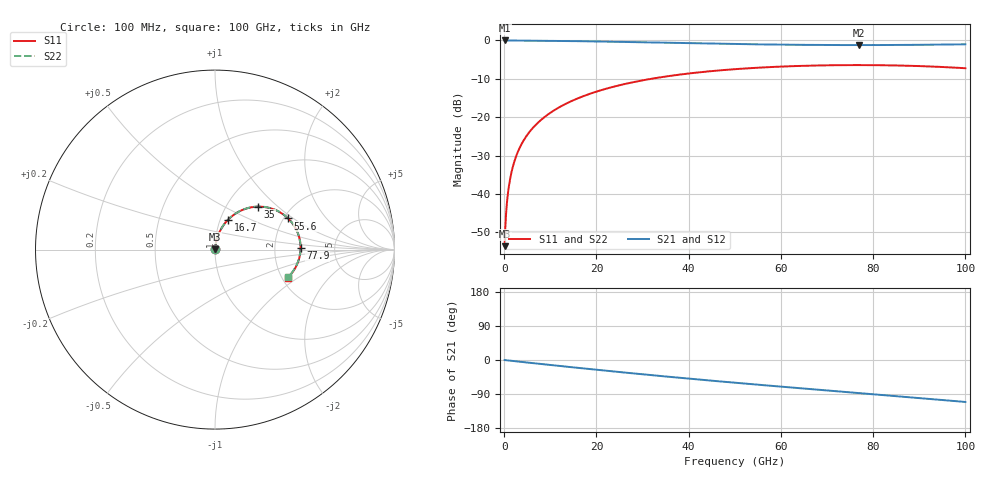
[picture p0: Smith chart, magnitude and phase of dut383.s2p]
! Touchstone file exported from HFSS 2026.1.0
!  File:  C:/ffzhzh/LocalFiles/Ansys_Project_Files/temp_train_RDL_383_1783503786_55944.aedt
!  Generated:  05:44:30 PM Jul  8, 2026
!  Design:  RDL
!  Project:  temp_train_RDL_383_1783503786_55944
! Variables:
!  h_bsmrdl = 2um
!  h_ox = 20um
!  h_rdl = 5um
!  h_sub = 80um
!  h_tmrdl = 3.92um
!  h_tsv = 80um
!  h_via = 3um
!  l_bsmrdl = 300um
!  l_sub = 771.33um
!  l_tmrdl = 371.33um
!  m_sub = 200um
!  pitch = 45.35um
!  r_tsv = 6um
!  s_tmrdl = 10um
!  w_bsmrdl = 18um
!  w_sub = 500um
!  w_tmrdl = 24.19um
!  x_tsv_center1 = 383.425um
!  x_tsv_center2 = 701.425um
!  x_tsv_center3 = 1096.945um
!  x_tsv_center4 = 1414.945um
!  x_tsv_center5 = 1810.465um
!  x_tsv_center6 = 2128.465um
# GHz S MA R 50.000000
! Terminal data exported
! Port[1] = TM_RDL1_1_T1
! Port[2] = TM_RDL1_1_T2
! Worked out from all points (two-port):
!   1000 points, 100 MHz to 100 GHz, reference 50 ohm
!   highest |S21| = -0.01 dB at 100 MHz (marker M1); lowest = -1.2 dB at 76.9 GHz (marker M2)
!   |S21| within 3 dB of the highest: start of sweep to end of sweep
!   lowest |S11| = -53.6 dB at 100 MHz (marker M3), VSWR 1.00, Z = 50.2 + j0.135 ohm
!   |S11| at or under -10 dB: start of sweep to 31.93 GHz
!   |S22| runs from -53.6 to -6.4 dB; largest |S21 - S12| = 1.6e-14
!   S11 on the Smith chart (normalised r, x): 100 MHz: 1.00, +0.00; 16.7 GHz: 1.09, +0.38; 35 GHz: 1.39, +0.75; 55.6 GHz: 2.11, +0.91; 77.9 GHz: 2.82, +0.05; 100 GHz: 2.14, -0.83
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0.1  0.002085 40.1  0.9984 -0.1  0.9984 -0.1  0.002085 40.1
! Gamma 0 0 0 0
! Port Impedance 50 0 50 0
0.9  0.01107 78.2  0.9979 -1.2  0.9979 -1.2  0.01107 78.2
1.2  0.01457 80.0  0.9978 -1.6  0.9978 -1.6  0.01457 80.0
1.5  0.01809 81.0  0.9976 -2.0  0.9976 -2.0  0.01809 81.0
2  0.02395 81.7  0.9974 -2.7  0.9974 -2.7  0.02395 81.7
2.5  0.0298 81.9  0.9971 -3.3  0.9971 -3.3  0.0298 81.9
4  0.04719 81.0  0.9958 -5.3  0.9958 -5.3  0.04719 81.0
6.1  0.07102 78.8  0.9936 -8.1  0.9936 -8.1  0.07102 78.8
8.9  0.1019 75.5  0.9899 -11.7  0.9899 -11.7  0.1019 75.5
12.4  0.1392 71.4  0.9844 -16.2  0.9844 -16.2  0.1392 71.4
16.7  0.1831 66.3  0.9763 -21.6  0.9763 -21.6  0.1831 66.3
16.8  0.1841 66.1  0.9761 -21.7  0.9761 -21.7  0.1841 66.2
24.2  0.2534 57.4  0.9594 -30.8  0.9594 -30.8  0.2534 57.5
33.4  0.327 46.8  0.9363 -41.6  0.9363 -41.6  0.3269 46.9
35  0.3383 45.0  0.9322 -43.5  0.9322 -43.5  0.3382 45.2
50.1  0.4221 28.7  0.8971 -60.0  0.8971 -60.0  0.422 28.9
55.6  0.4428 23.1  0.8871 -65.8  0.8871 -65.8  0.4427 23.3
66.7  0.4695 11.9  0.8734 -77.1  0.8734 -77.1  0.4693 12.2
76.9  0.477 1.9  0.8692 -87.3  0.8692 -87.3  0.4768 2.2
77.9  0.4768 0.9  0.8692 -88.3  0.8692 -88.3  0.4766 1.2
83.4  0.4734 -4.5  0.8709 -93.8  0.8709 -93.8  0.4731 -4.2
100  0.4338 -21.2  0.8899 -110.8  0.8899 -110.8  0.4336 -20.8
